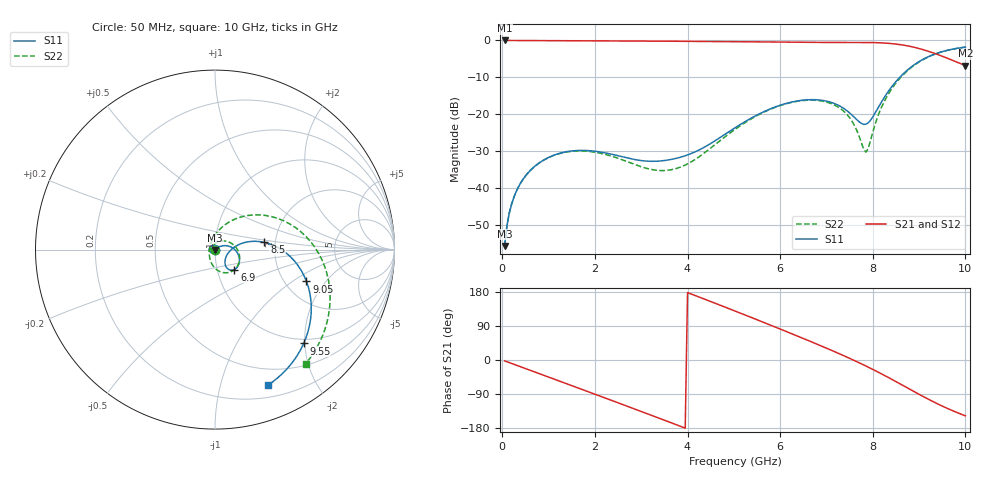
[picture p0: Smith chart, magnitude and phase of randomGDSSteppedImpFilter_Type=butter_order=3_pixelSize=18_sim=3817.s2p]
! freq	dB(S11)	phase(S11)	dB(S12)	phase(S12)
!  dB(S21)	phase(S21)	dB(S22)	phase(S22)
!S-par simulation data
#  GHz  S  DB  R 50
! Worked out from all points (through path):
!   200 points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, 50 MHz to 10 GHz, reference 50 ohm
!   highest |S21| = 0.00 dB at 50 MHz (marker M1); lowest = -6.8 dB at 10 GHz (marker M2)
!   group delay of S21, straight-line fit = 139 ps
!   lowest |S11| = -55.7 dB at 50 MHz (marker M3), VSWR 1.00, Z = 50 - j0.162 ohm
!   |S11| at or under -10 dB: start of sweep to 8.581 GHz
!   |S22| runs from -55.7 to -1.8 dB; largest |S21 - S12| = 0
!   S11 on the Smith chart (normalised r, x): 50 MHz: 1.00, -0.00; 6.9 GHz: 1.21, -0.28; 8.5 GHz: 1.75, +0.15; 9.05 GHz: 2.61, -1.31; 9.55 GHz: 0.91, -1.98; 10 GHz: 0.32, -1.42
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0.05  -55.66 -79.3  -0.00 -2.3  -0.00 -2.3  -55.69 -78.8
0.1  -50.19 -87.8  -0.01 -4.6  -0.01 -4.6  -50.19 -87.1
0.2  -44.36 -96.7  -0.02 -9.1  -0.02 -9.1  -44.35 -95.3
0.5  -36.69 -114.4  -0.03 -22.6  -0.03 -22.6  -36.69 -110.9
1.05  -31.38 -143.6  -0.06 -47.3  -0.06 -47.3  -31.43 -135.3
1.75  -29.77 178.4  -0.09 -78.9  -0.09 -78.9  -29.94 -163.3
2.55  -31.36 126.2  -0.14 -115.2  -0.14 -115.2  -32.13 170.7
3.4  -32.64 61.3  -0.19 -154.2  -0.19 -154.2  -35.21 154.0
4.2  -29.95 32.2  -0.26 168.5  -0.26 168.5  -31.92 108.7
5.05  -23.45 18.9  -0.33 128.1  -0.33 128.1  -23.85 48.9
5.85  -18.22 -6.4  -0.43 89.2  -0.43 89.2  -18.32 3.0
6.25  -16.68 -21.6  -0.48 69.3  -0.48 69.3  -16.76 -18.8
6.7  -16.03 -38.8  -0.53 46.7  -0.53 46.7  -16.16 -43.7
6.9  -16.20 -45.9  -0.54 36.4  -0.54 36.4  -16.40 -55.2
7.45  -19.10 -57.1  -0.53 7.2  -0.53 7.2  -20.15 -92.8
7.85  -22.69 -22.1  -0.54 -15.7  -0.54 -15.7  -30.24 172.3
8.15  -17.47 11.7  -0.64 -34.1  -0.64 -34.1  -19.22 79.0
8.35  -13.53 12.6  -0.79 -47.0  -0.79 -47.0  -14.24 58.5
8.5  -11.12 8.3  -0.98 -56.9  -0.98 -56.9  -11.54 45.9
9.05  -5.36 -19.2  -2.36 -93.8  -2.36 -93.8  -5.44 4.8
9.55  -2.86 -46.6  -4.51 -124.4  -4.51 -124.4  -2.87 -27.5
10  -1.83 -68.4  -6.80 -147.3  -6.80 -147.3  -1.81 -51.5
